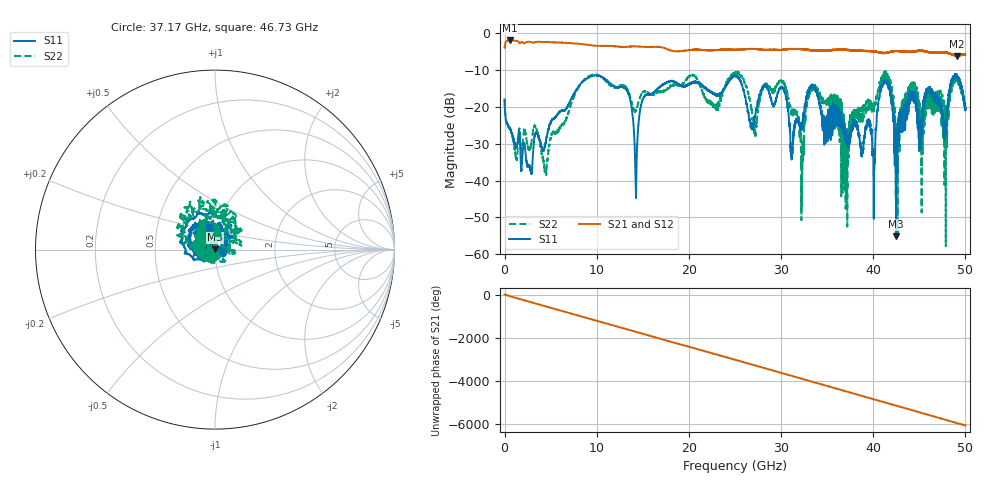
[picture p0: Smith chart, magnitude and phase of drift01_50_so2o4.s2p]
!Created with skrf (http://scikit-rf.org).
# Hz S RI R 50.0
!freq ReS11 ImS11 ReS21 ImS21 ReS12 ImS12 ReS22 ImS22
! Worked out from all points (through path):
!   10001 points, 300 kHz to 50 GHz, reference 50 ohm
!   highest |S21| = -2.00 dB at 580.3 MHz (marker M1); lowest = -6.2 dB at 49.05 GHz (marker M2)
!   group delay of S21, straight-line fit = 336 ps
!   lowest |S11| = -55.1 dB at 42.47 GHz (marker M3), VSWR 1.00, Z = 50 + j0.175 ohm
!   |S11| at or under -10 dB: start of sweep to end of sweep
!   |S22| runs from -57.8 to -10.3 dB; largest |S21 - S12| = 0.025
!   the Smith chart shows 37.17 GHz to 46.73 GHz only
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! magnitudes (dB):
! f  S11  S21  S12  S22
! 300 kHz  -18.1  -3.9  -4.0  -17.8
! 580.3 MHz  -26.0  -2.0  -2.0  -26.1
! 4.435 GHz  -30.0  -2.4  -2.4  -36.8
! 8.335 GHz  -13.5  -3.0  -3.0  -13.5
! 13.17 GHz  -15.2  -3.8  -3.8  -14.7
! 14.25 GHz  -44.5  -3.6  -3.6  -21.1
! 16.67 GHz  -14.9  -3.8  -3.7  -15.8
! 25 GHz  -11.6  -4.5  -4.6  -11.0
! 27.14 GHz  -22.5  -4.3  -4.3  -25.2
! 30.18 GHz  -15.0  -4.5  -4.5  -13.2
! 31.14 GHz  -32.9  -4.3  -4.3  -21.7
! 32.23 GHz  -24.2  -4.3  -4.3  -39.1
! 33.34 GHz  -14.3  -4.7  -4.6  -14.4
! 37.07 GHz  -28.6  -4.6  -4.6  -27.8
! 40.09 GHz  -40.0  -5.0  -5.0  -20.0
! 41.67 GHz  -14.6  -5.2  -5.2  -12.0
! 42.47 GHz  -55.1  -4.9  -4.9  -34.2
! 44.16 GHz  -17.1  -5.1  -5.1  -13.7
! 45.32 GHz  -22.6  -4.8  -4.7  -23.2
! 47.75 GHz  -28.3  -5.2  -5.2  -27.2
! 49.05 GHz  -11.6  -6.2  -6.1  -12.2
! 50 GHz  -20.3  -5.9  -5.8  -19.7
